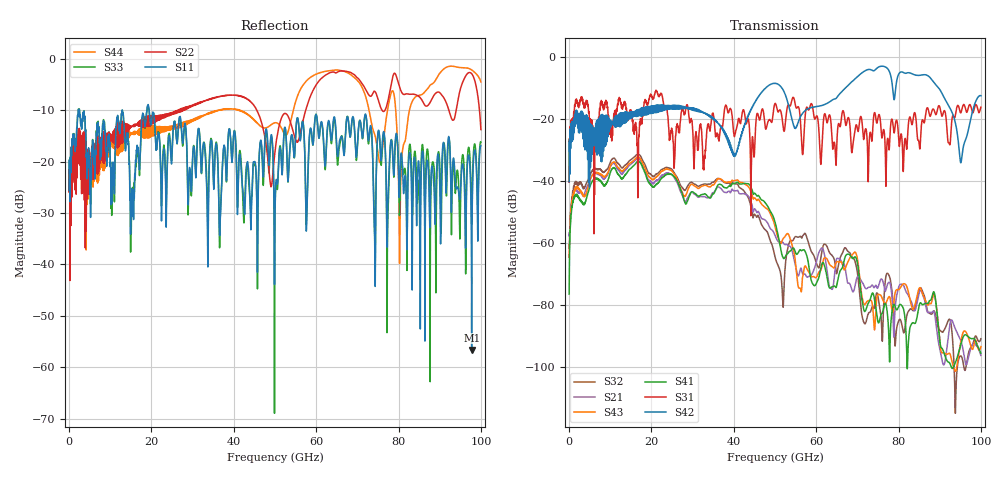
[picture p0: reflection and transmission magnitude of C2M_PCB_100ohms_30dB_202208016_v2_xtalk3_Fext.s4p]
! Info: Touchstone file created by Circ.  Input file=Intel_C2M_200G_13p5in_202208016_staggered.circ
# Hz S RI R 50
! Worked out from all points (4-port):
!   10000 points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, 10 MHz to 100 GHz, reference 50 ohm
!   strongest paths, dB at 10 MHz, 25.01 GHz, 50.01 GHz, 75.01 GHz, 100 GHz:
!     S42: -40.3, -16.3, -8.6, -3.4, -12.6
!     S31: -40.4, -24.5, -15.1, -19.7, -16.2
!     S41: -76.5, -38.1, -53.3, -85.5, -95.5
!     S43: -64.7, -36.9, -54.7, -76.6, -93.5
!     S21: -56.8, -38.1, -57.6, -74.4, -96.3
!     S32: -61.7, -36.4, -64.5, -77.3, -90.9
!   lowest |S11| = -56.6 dB at 97.76 GHz (marker M1), VSWR 1.00, Z = 50.1 - j0.0534 ohm
!   |S11| at or under -10 dB: start of sweep to 2.256 GHz; 2.512 GHz to 18.9 GHz (16.39 GHz wide, 153 % of centre); 19.45 GHz to end of sweep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
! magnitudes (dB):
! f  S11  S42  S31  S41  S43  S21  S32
! 10 MHz  -25.6  -40.3  -40.4  -76.5  -64.7  -56.8  -61.7
! 16.83 GHz  -18.9  -17.3  -31.8  -33.7  -32.3  -32.8  -31.4
! 42.17 GHz  -25.4  -23.4  -17.3  -40.9  -40.7  -44.2  -42.8
! 51.84 GHz  -21.2  -10.4  -21.0  -64.4  -59.0  -59.7  -77.8
! 80.36 GHz  -21.9  -5.1  -27.1  -79.8  -74.6  -73.4  -84.6
! 97.76 GHz  -56.6  -18.7  -17.0  -90.9  -94.0  -93.3  -93.3
! 100 GHz  -16.9  -12.6  -16.2  -95.5  -93.5  -96.3  -90.9
